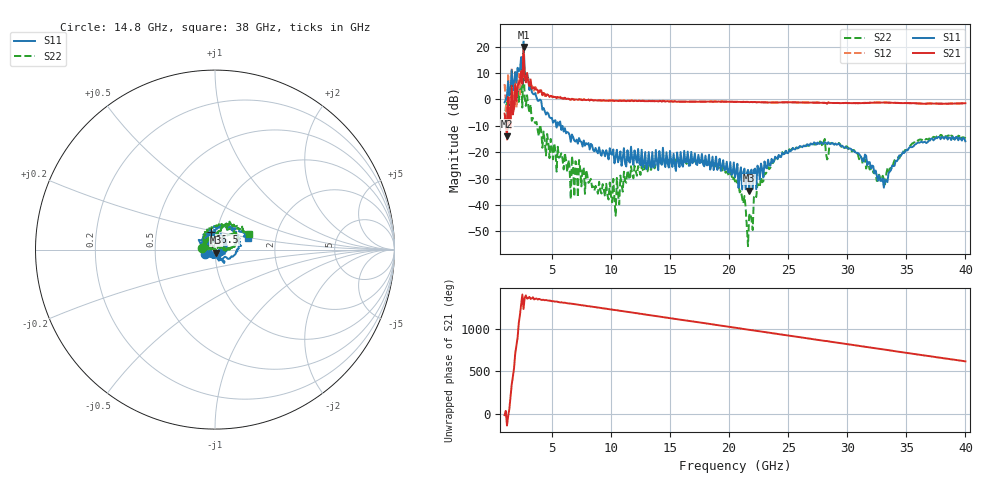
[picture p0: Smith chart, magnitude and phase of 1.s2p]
!Keysight Technologies,N5224A,MY55441802,A.10.65.16
!Date: Wednesday, May 13, 2026 18:27:31
!Correction: S11(Full 2 Port(1,2))
!S21(Full 2 Port(1,2))
!S12(Full 2 Port(1,2))
!S22(Full 2 Port(1,2))
!S2P File: Measurements: S11, S21, S12, S22:
# Hz S  dB  R 50
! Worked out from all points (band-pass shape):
!   391 points, 1 GHz to 40 GHz, reference 50 ohm
!   highest |S21| = 19.93 dB at 2.6 GHz (marker M1); lowest = -14.0 dB at 1.2 GHz (marker M2)
!   |S21| within 3 dB of the highest: 2.579 GHz to 2.626 GHz (47.94 MHz wide, 1.84 % of centre)
!   lowest |S11| = -34.6 dB at 21.7 GHz (marker M3), VSWR 1.04, Z = 50.5 - j1.8 ohm
!   |S11| at or under -10 dB: 5.376 GHz to 5.434 GHz (58.1 MHz wide, 1.08 % of centre); 5.751 GHz to end of sweep
!   |S22| runs from -55.6 to 14.7 dB; largest |S21 - S12| = 4.2
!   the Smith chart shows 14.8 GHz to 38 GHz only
!   S11 on the Smith chart (normalised r, x): 14.8 GHz: 0.89, -0.04; 16.5 GHz: 0.93, +0.19; 38 GHz: 1.43, +0.19
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1e9  -1.15 -83.2  -5.35 -16.7  5.75 -15.0  -8.35 -87.0
1.2e9  1.59 1.0  -14.04 -138.8  -15.24 -73.9  -0.71 -27.2
1.7e9  3.35 169.4  -5.68 74.8  -3.14 21.0  -2.93 42.0
1.9e9  10.40 -36.2  5.66 -6.0  10.18 -6.1  -2.17 62.2
2e9  6.41 170.4  -0.48 84.3  -3.07 41.1  -0.72 32.9
2.1e9  12.00 -4.6  5.10 178.3  5.13 175.5  4.75 -29.4
2.3e9  11.21 164.3  7.17 91.1  1.91 67.0  4.08 28.4
2.4e9  16.05 22.8  10.69 -154.4  11.37 -158.0  7.80 -3.3
2.5e9  8.05 -64.5  5.96 -32.1  8.03 -35.1  -3.09 24.9
2.6e9  22.35 -139.1  19.93 156.8  15.34 150.2  14.75 79.2
2.7e9  10.85 111.1  8.60 -69.5  9.91 -73.6  0.79 90.1
2.9e9  9.63 -22.3  10.06 -79.9  7.82 -81.3  1.56 -155.9
7.5e9  -16.08 -20.2  -0.14 -158.2  -0.03 -157.5  -32.96 -36.1
1.4e10  -26.81 120.6  -0.77 69.5  -0.74 69.4  -24.85 -169.3
1.48e10  -24.39 -156.0  -0.61 53.2  -0.59 52.3  -22.64 170.9
1.65e10  -19.77 104.0  -0.89 19.2  -0.80 18.7  -22.32 134.0
2.05e10  -29.50 12.3  -0.98 -63.8  -0.89 -64.1  -30.95 57.2
2.17e10  -34.59 -72.3  -1.03 -88.6  -1.00 -89.0  -43.95 123.1
2.7e10  -17.04 70.8  -1.21 162.9  -1.19 162.5  -16.98 77.5
3.35e10  -27.90 157.2  -1.23 30.1  -1.22 29.7  -27.49 70.6
3.8e10  -14.31 19.9  -1.61 -61.5  -1.62 -61.3  -13.55 24.5
4e10  -15.86 -21.9  -1.42 -101.1  -1.47 -101.8  -14.26 -13.7
